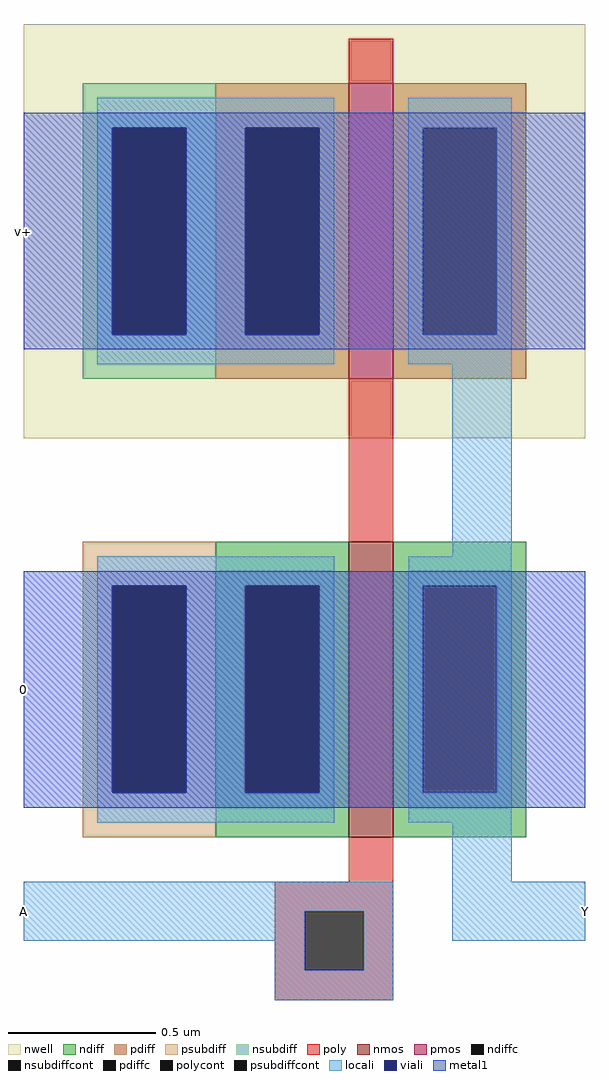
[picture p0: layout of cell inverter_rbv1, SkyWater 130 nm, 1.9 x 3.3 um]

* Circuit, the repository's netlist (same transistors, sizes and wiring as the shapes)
* NGSPICE file created from /home/rb/work/labs/week0_inverter/magic/inverter_rbv1.ext - technology: sky130A

.subckt x/home/rb/work/labs/week0_inverter/magic/inverter_rbv1 A Y v+ 0
X0 Y A v+ v+ sky130_fd_pr__pfet_01v8 ad=4.5e+11p pd=2.9e+06u as=4.5e+11p ps=2.9e+06u w=1e+06u l=150000u
X1 Y A 0 0 sky130_fd_pr__nfet_01v8 ad=4.5e+11p pd=2.9e+06u as=4.5e+11p ps=2.9e+06u w=1e+06u l=150000u
.ends

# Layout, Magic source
magic
tech sky130A
<< nwell >>
rect -30 95 160 235
<< nmos >>
rect 80 -40 95 60
<< pmos >>
rect 80 115 95 215
<< ndiff >>
rect 35 45 80 60
rect 35 -25 45 45
rect 70 -25 80 45
rect 35 -40 80 -25
rect 95 45 140 60
rect 95 -25 105 45
rect 130 -25 140 45
rect 95 -40 140 -25
<< pdiff >>
rect 35 200 80 215
rect 35 130 45 200
rect 70 130 80 200
rect 35 115 80 130
rect 95 200 140 215
rect 95 130 105 200
rect 130 130 140 200
rect 95 115 140 130
<< ndiffc >>
rect 45 -25 70 45
rect 105 -25 130 45
<< pdiffc >>
rect 45 130 70 200
rect 105 130 130 200
<< psubdiff >>
rect -10 45 35 60
rect -10 -25 0 45
rect 25 -25 35 45
rect -10 -40 35 -25
<< nsubdiff >>
rect -10 200 35 215
rect -10 130 0 200
rect 25 130 35 200
rect -10 115 35 130
<< psubdiffcont >>
rect 0 -25 25 45
<< nsubdiffcont >>
rect 0 130 25 200
<< poly >>
rect 80 215 95 230
rect 80 60 95 115
rect 80 -55 95 -40
rect 55 -65 95 -55
rect 55 -85 65 -65
rect 85 -85 95 -65
rect 55 -95 95 -85
<< polycont >>
rect 65 -85 85 -65
<< locali >>
rect -5 200 75 210
rect -5 130 0 200
rect 25 130 45 200
rect 70 130 75 200
rect -5 120 75 130
rect 100 200 135 210
rect 100 130 105 200
rect 130 130 135 200
rect 100 120 135 130
rect 115 55 135 120
rect -5 45 75 55
rect -5 -25 0 45
rect 25 -25 45 45
rect 70 -25 75 45
rect -5 -35 75 -25
rect 100 45 135 55
rect 100 -25 105 45
rect 130 -25 135 45
rect 100 -35 135 -25
rect 115 -55 135 -35
rect -30 -65 95 -55
rect -30 -75 65 -65
rect 55 -85 65 -75
rect 85 -85 95 -65
rect 115 -75 160 -55
rect 55 -95 95 -85
<< viali >>
rect 0 130 25 200
rect 45 130 70 200
rect 0 -25 25 45
rect 45 -25 70 45
<< metal1 >>
rect -30 200 160 205
rect -30 130 0 200
rect 25 130 45 200
rect 70 130 160 200
rect -30 125 160 130
rect -30 45 160 50
rect -30 -25 0 45
rect 25 -25 45 45
rect 70 -25 160 45
rect -30 -30 160 -25
<< labels >>
rlabel locali -30 -65 -30 -65 7 A
port 1 w
rlabel locali 160 -65 160 -65 3 Y
port 2 e
rlabel metal1 -30 165 -30 165 7 v+
port 3 w
rlabel metal1 -30 10 -30 10 7 0
port 4 w
<< end >>
